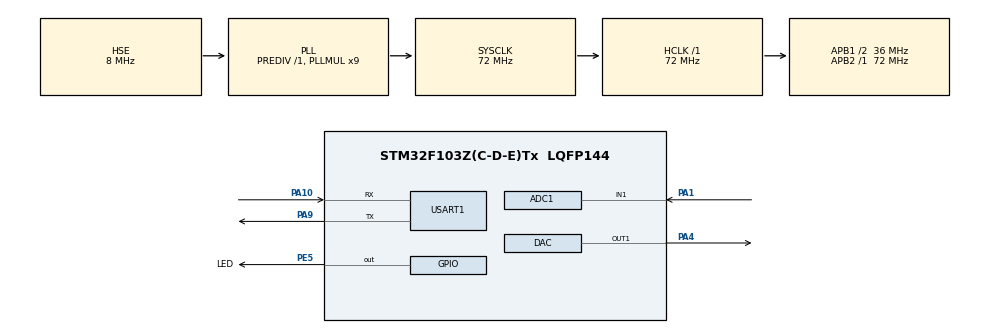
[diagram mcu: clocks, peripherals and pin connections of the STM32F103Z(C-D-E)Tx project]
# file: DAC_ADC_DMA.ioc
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ADC1.Channel-0\#ChannelRegularConversion=ADC_CHANNEL_1
ADC1.ContinuousConvMode=ENABLE
ADC1.NbrOfConversion=1
ADC1.NbrOfConversionFlag=1
ADC1.Rank-0\#ChannelRegularConversion=1
ADC1.SamplingTime-0\#ChannelRegularConversion=ADC_SAMPLETIME_1CYCLE_5
ADC1.master=1
Dma.ADC1.0.Direction=DMA_PERIPH_TO_MEMORY
Dma.ADC1.0.Instance=DMA1_Channel1
Dma.ADC1.0.MemDataAlignment=DMA_MDATAALIGN_HALFWORD
Dma.ADC1.0.MemInc=DMA_MINC_ENABLE
Dma.ADC1.0.Mode=DMA_CIRCULAR
Dma.ADC1.0.PeriphDataAlignment=DMA_PDATAALIGN_HALFWORD
Dma.ADC1.0.PeriphInc=DMA_PINC_DISABLE
Dma.ADC1.0.Priority=DMA_PRIORITY_HIGH
Dma.Request0=ADC1
Mcu.Family=STM32F1
Mcu.Name=STM32F103Z(C-D-E)Tx
Mcu.Package=LQFP144
NVIC.DMA1_Channel1_IRQn=true\:0\:0\:false\:false\:true\:true\:true\:true
NVIC.PriorityGroup=NVIC_PRIORITYGROUP_4
OSC_IN.Mode=HSE-External-Oscillator
OSC_IN.Signal=RCC_OSC_IN
OSC_OUT.Mode=HSE-External-Oscillator
OSC_OUT.Signal=RCC_OSC_OUT
PA1.Signal=ADCx_IN1
PA10.Mode=Asynchronous
PA10.Signal=USART1_RX
PA13.Mode=Serial_Wire
PA13.Signal=SYS_JTMS-SWDIO
PA14.Mode=Serial_Wire
PA14.Signal=SYS_JTCK-SWCLK
PA4.Signal=COMP_DAC1_group
PA9.Mode=Asynchronous
PA9.Signal=USART1_TX
PE5.GPIO_Label=LED
PE5.GPIO_Speed=GPIO_SPEED_FREQ_HIGH
PE5.Signal=GPIO_Output
ProjectManager.HeapSize=0x200
ProjectManager.StackSize=0x400
ProjectManager.TargetToolchain=MDK-ARM V5.32
RCC.ADCPresc=RCC_ADCPCLK2_DIV6
RCC.AHBFreq_Value=72000000
RCC.APB1CLKDivider=RCC_HCLK_DIV2
RCC.APB1Freq_Value=36000000
RCC.APB1TimFreq_Value=72000000
RCC.APB2Freq_Value=72000000
RCC.APB2TimFreq_Value=72000000
RCC.HCLKFreq_Value=72000000
RCC.PLLMUL=RCC_PLL_MUL9
RCC.PLLSourceVirtual=RCC_PLLSOURCE_HSE
RCC.SYSCLKFreq_VALUE=72000000
RCC.SYSCLKSource=RCC_SYSCLKSOURCE_PLLCLK
RCC.USBFreq_Value=72000000
SH.ADCx_IN1.0=ADC1_IN1,IN1
SH.COMP_DAC1_group.0=DAC_OUT1,DAC_OUT1
USART1.VirtualMode=VM_ASYNC
board=custom

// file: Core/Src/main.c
/* USER CODE BEGIN Header */
/**
  ******************************************************************************
  * @file           : main.c
  * @brief          : Main program body
  ******************************************************************************
  * @attention
  *
  * Copyright (c) 2024 STMicroelectronics.
  * All rights reserved.
  *
  * This software is licensed under terms that can be found in the LICENSE file
  * in the root directory of this software component.
  * If no LICENSE file comes with this software, it is provided AS-IS.
  *
  ******************************************************************************
  */
/* USER CODE END Header */
#include "main.h"
#include "adc.h"
#include "dac.h"
#include "dma.h"
#include "usart.h"
#include "gpio.h"

/* USER CODE BEGIN Includes */
#include "stdio.h"
/* USER CODE END Includes */

void SystemClock_Config(void);

int main(void)
{

  /* USER CODE BEGIN 1 */
uint16_t adc_value;
	uint16_t dac_value = 0;
  /* USER CODE END 1 */

  /* MCU Configuration--------------------------------------------------------*/

  /* Reset of all peripherals, Initializes the Flash interface and the Systick. */
  HAL_Init();

  /* Configure the system clock */
  SystemClock_Config();

  /* Initialize all configured peripherals */
  MX_GPIO_Init();
  MX_DMA_Init();
  MX_ADC1_Init();
  MX_DAC_Init();
  MX_USART1_UART_Init();
  /* USER CODE BEGIN 2 */
	HAL_ADCEx_Calibration_Start(&hadc1);	          //adc校准
  HAL_DAC_Start(&hdac, DAC_CHANNEL_1);
  HAL_ADC_Start_DMA(&hadc1, (uint32_t*)(&adc_value), 1);
  /* USER CODE END 2 */

  /* Infinite loop */
  /* USER CODE BEGIN WHILE */
  while (1)
  {
		HAL_GPIO_TogglePin(GPIOE,GPIO_PIN_5);
//////		static double SetVcc = 0;
//////	static uint16_t ReadVcc;
//////	SetVcc = SetVcc + 0.5;
//////	if(SetVcc > 3.3)
//////	{
//////		SetVcc = 0;
//////	}

//////	/* 设置DAC输出的电压 */
//////	HAL_DAC_SetValue(&hdac, DAC_CHANNEL_1, DAC_ALIGN_12B_R, (SetVcc / 3.3 * 4096));
////////	HAL_DAC_Start(&hdac, DAC_CHANNEL_1);

////////	/* 打印 */
////////	printf("PA0 set voltage:%.4f\n", SetVcc);
////////HAL_ADC_Start(&hadc1);
////////	HAL_ADC_PollForConversion(&hadc1, 50);
////////	if(HAL_IS_BIT_SET(HAL_ADC_GetState(&hadc1), HAL_ADC_STATE_REG_EOC))
////////	{
////////		/* 读取ADC的电压 */
////////		ReadVcc = HAL_ADC_GetValue(&hadc1);

////////		/* 打印 */
////////		printf("PA4 read voltage:%.4f\n", ReadVcc * 3.3f / 4096);
////////	}
//////    if (adc_value != 0 && HAL_ADC_PollForConversion(&hadc1, 1000) == HAL_OK)
//////    {
//////      // Display ADC value
//////      printf("ADC Value: %u\r\n", adc_value);
//////    }
    // Update DAC output value
    HAL_DAC_SetValue(&hdac, DAC_CHANNEL_1, DAC_ALIGN_12B_R, dac_value);

    // Display ADC value

      // Display ADC value
      printf("ADC Value: %u\r\n", adc_value);

    // Increment DAC value (or modify as desired)
    dac_value += 100;
    if (dac_value > 4095) {
      dac_value = 0;
    }

    HAL_Delay(1000); // Adjust the delay time as needed

    /* USER CODE END WHILE */

  }
}

void SystemClock_Config(void)
{
  RCC_OscInitTypeDef RCC_OscInitStruct = {0};
  RCC_ClkInitTypeDef RCC_ClkInitStruct = {0};
  RCC_PeriphCLKInitTypeDef PeriphClkInit = {0};

  /** Initializes the RCC Oscillators according to the specified parameters
  * in the RCC_OscInitTypeDef structure.
  */
  RCC_OscInitStruct.OscillatorType = RCC_OSCILLATORTYPE_HSE;
  RCC_OscInitStruct.HSEState = RCC_HSE_ON;
  RCC_OscInitStruct.HSEPredivValue = RCC_HSE_PREDIV_DIV1;
  RCC_OscInitStruct.HSIState = RCC_HSI_ON;
  RCC_OscInitStruct.PLL.PLLState = RCC_PLL_ON;
  RCC_OscInitStruct.PLL.PLLSource = RCC_PLLSOURCE_HSE;
  RCC_OscInitStruct.PLL.PLLMUL = RCC_PLL_MUL9;
  if (HAL_RCC_OscConfig(&RCC_OscInitStruct) != HAL_OK)
  {
    Error_Handler();
  }

  /** Initializes the CPU, AHB and APB buses clocks
  */
  RCC_ClkInitStruct.ClockType = RCC_CLOCKTYPE_HCLK|RCC_CLOCKTYPE_SYSCLK
                              |RCC_CLOCKTYPE_PCLK1|RCC_CLOCKTYPE_PCLK2;
  RCC_ClkInitStruct.SYSCLKSource = RCC_SYSCLKSOURCE_PLLCLK;
  RCC_ClkInitStruct.AHBCLKDivider = RCC_SYSCLK_DIV1;
  RCC_ClkInitStruct.APB1CLKDivider = RCC_HCLK_DIV2;
  RCC_ClkInitStruct.APB2CLKDivider = RCC_HCLK_DIV1;

  if (HAL_RCC_ClockConfig(&RCC_ClkInitStruct, FLASH_LATENCY_2) != HAL_OK)
  {
    Error_Handler();
  }
  PeriphClkInit.PeriphClockSelection = RCC_PERIPHCLK_ADC;
  PeriphClkInit.AdcClockSelection = RCC_ADCPCLK2_DIV6;
  if (HAL_RCCEx_PeriphCLKConfig(&PeriphClkInit) != HAL_OK)
  {
    Error_Handler();
  }
}

/* USER CODE BEGIN 4 */
int fputc(int ch, FILE *f)
{
    HAL_UART_Transmit(&huart1,(uint8_t*)&ch,1,0xffff);
    return ch;
}
/* USER CODE END 4 */

void Error_Handler(void)
{
  __disable_irq();
  while (1)
  {
  }
}
